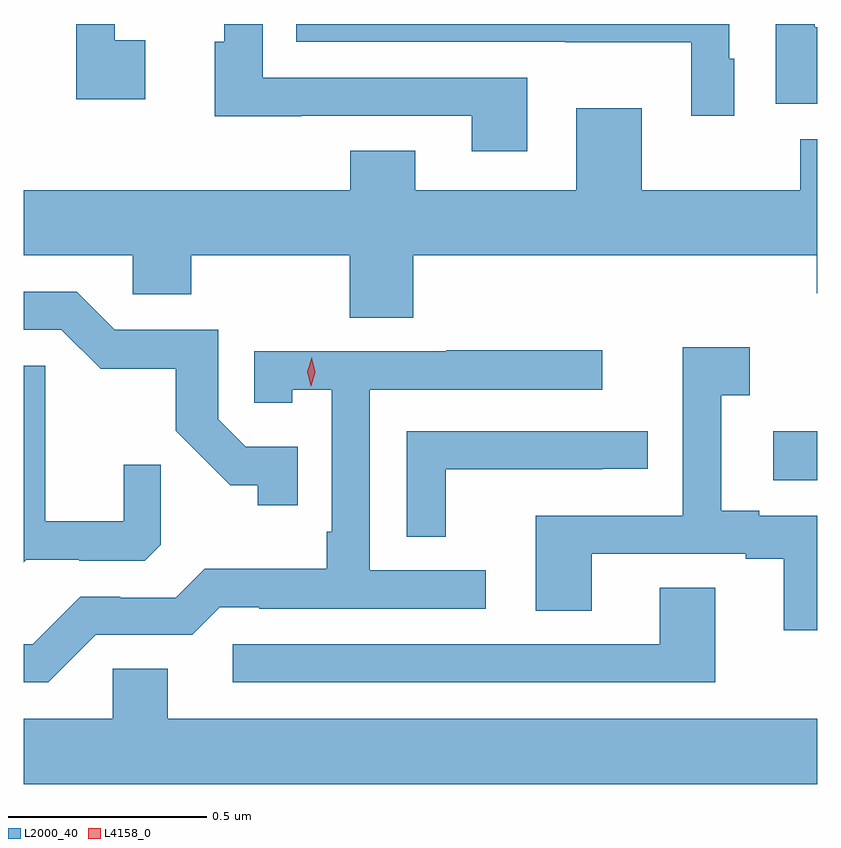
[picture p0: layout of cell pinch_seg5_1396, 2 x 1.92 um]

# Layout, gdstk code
import gdstk
lib = gdstk.Library(unit=1e-6, precision=1e-09)
def R(c, l, rs):  # rectangles x0, y0, x1, y1
    for r in rs: c.add(gdstk.rectangle(r[:2], r[2:], *l))
def P(c, l, *ps):  # polygons
    for p in ps: c.add(gdstk.Polygon(p, *l))
L2000_40 = (2000, 40)
L4158_0 = (4158, 0)

pinch_seg5_1396 = lib.new_cell('pinch_seg5_1396')
R(pinch_seg5_1396, L2000_40, [(282.171,888.161,282.282,888.285)])
P(pinch_seg5_1396, L2000_40, [(280.588,889.27),(280.512,889.27),(280.512,889.311),(280.415,889.311),(280.415,889.122),(280.588,889.122)],
  [(281.551,889.176),(280.884,889.176),(280.884,889.311),(280.788,889.311),(280.788,889.266),(280.763,889.266),(280.763,889.079),(280.981,889.079),(280.981,889.08),(281.411,889.08),(281.411,888.99),(281.551,888.99)],
  [(282.282,889.303),(282.275,889.303),(282.275,889.311),(282.177,889.311),(282.177,889.11),(282.282,889.11)],
  [(282.073,889.224),(282.06,889.224),(282.06,889.311),(280.969,889.311),(280.969,889.266),(281.647,889.266),(281.647,889.265),(281.964,889.265),(281.964,889.08),(282.073,889.08)],
  [(282.281,888.632),(282.282,888.632),(282.282,889.021),(282.239,889.021),(282.239,888.892),(281.839,888.892),(281.839,889.099),(281.675,889.099),(281.675,888.892),(281.269,888.892),(281.269,888.991),(281.105,888.991),(281.105,888.892),(280.282,888.892),(280.282,888.728),(280.557,888.728),(280.557,888.63),(280.704,888.63),(280.704,888.728),(281.104,888.728),(281.104,888.571),(281.264,888.571),(281.264,888.728),(282.281,888.728)],
  [(280.973,888.246),(280.842,888.246),(280.773,888.315),(280.773,888.54),(280.512,888.54),(280.416,888.636),(280.282,888.636),(280.282,888.54),(280.377,888.54),(280.476,888.442),(280.665,888.442),(280.665,888.286),(280.802,888.149),(280.872,888.149),(280.872,888.099),(280.973,888.099)],
  [(282.282,888.072),(282.136,888.072),(282.136,888.085),(282.04,888.085),(282.04,888.376),(282.112,888.376),(282.112,888.496),(281.943,888.496),(281.943,888.072),(281.573,888.072),(281.573,887.833),(281.713,887.833),(281.713,887.976),(282.101,887.976),(282.101,887.964),(282.197,887.964),(282.197,887.784),(282.282,887.784)],
  [(280.464,887.772),(280.707,887.772),(280.776,887.841),(280.876,887.841),(280.876,887.838),(281.446,887.838),(281.446,887.934),(281.154,887.934),(281.154,888.39),(281.74,888.39),(281.74,888.489),(281.347,888.489),(281.347,888.486),(280.863,888.486),(280.863,888.357),(280.959,888.357),(280.959,888.389),(281.058,888.389),(281.058,888.031),(281.046,888.031),(281.046,887.938),(280.738,887.938),(280.665,887.865),(280.526,887.865),(280.526,887.868),(280.425,887.868),(280.305,887.748),(280.282,887.748),(280.282,887.652),(280.344,887.652)],
  [(280.288,887.961),(280.422,887.961),(280.422,887.958),(280.587,887.958),(280.628,887.999),(280.628,888.201),(280.534,888.201),(280.534,888.058),(280.337,888.058),(280.337,888.45),(280.282,888.45),(280.282,887.955)],
  [(281.346,888.189),(281.741,888.189),(281.741,888.19),(281.854,888.19),(281.854,888.285),(281.247,888.285),(281.247,888.019),(281.346,888.019)],
  [(282.025,887.891),(281.885,887.891),(281.885,887.748),(280.809,887.748),(280.809,887.652),(282.025,887.652)],
  [(282.282,887.56),(280.645,887.56),(280.645,887.687),(280.506,887.687),(280.506,887.56),(280.282,887.56),(280.282,887.396),(282.282,887.396)])
P(pinch_seg5_1396, L4158_0, [(281.006,888.398),(281.006,888.399),(280.997,888.435),(281.008,888.47),(281.008,888.471),(281.008,888.47),(281.017,888.434),(281.007,888.399)])

lib.write_gds('pinch_seg5_1396.gds')
